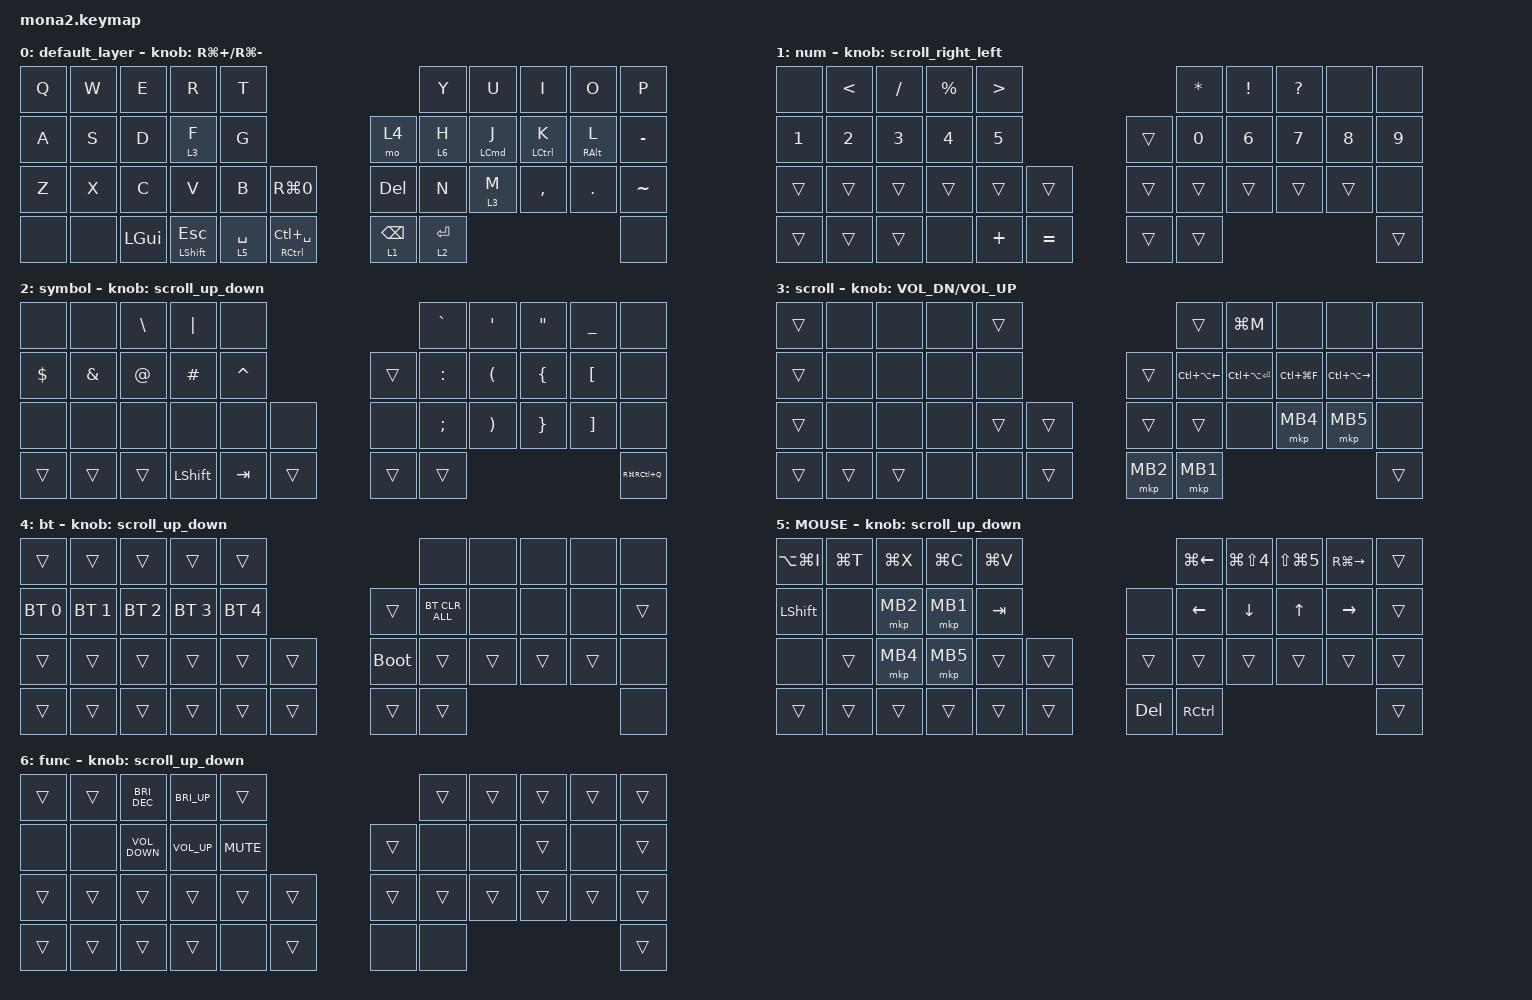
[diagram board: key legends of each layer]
#include <input/processors.dtsi>
#include <dt-bindings/zmk/input_transform.h>
#include <zephyr/dt-bindings/input/input-event-codes.h>
#include <behaviors.dtsi>
#include <dt-bindings/zmk/bt.h>
#include <dt-bindings/zmk/keys.h>
#include <dt-bindings/zmk/pointing.h>

#define ZMK_POINTING_DEFAULT_SCRL_VAL 100
#define MOUSE 5
#define SCROLL 6

&mt {
    flavor = "balanced";
    quick-tap-ms = <0>;
};

&lt {
    quick-tap-ms = <300>;
    flavor = "balanced";
};

/ {
    combos {
        compatible = "zmk,combos";

        layer4_ESC {
            bindings = <&lt 4 ESC>;
            key-positions = <39 38>;
        };

        tab {
            bindings = <&kp TAB>;
            key-positions = <11 12>;
        };
    };

    macros {
        to_layer_0: to_layer_0 {
            compatible = "zmk,behavior-macro-one-param";
            #binding-cells = <1>;
            bindings = <&to 0 &macro_param_1to1 &kp MACRO_PLACEHOLDER>;
            label = "TO_LAYER_0";
        };
    };

    behaviors {
        lt_to_layer_0: lt_to_layer_0 {
            compatible = "zmk,behavior-hold-tap";
            label = "LAYER_TAP_TO_0";
            bindings = <&mo>, <&to_layer_0>;

            #binding-cells = <2>;
            tapping-term-ms = <200>;
        };

        scroll_up_down: mouse_wheel_up_down {
            compatible = "zmk,behavior-sensor-rotate";
            #sensor-binding-cells = <0>;
            bindings = <&msc SCRL_DOWN>, <&msc SCRL_UP>;

            tap-ms = <20>;
        };

        scroll_right_left: mouse_wheel_right_left {
            compatible = "zmk,behavior-sensor-rotate";
            #sensor-binding-cells = <0>;
            bindings = <&msc SCRL_LEFT>, <&msc SCRL_RIGHT>;

            tap-ms = <20>;
        };
    };

    keymap {
        compatible = "zmk,keymap";

        default_layer {
            bindings = <
&kp Q  &kp W  &kp E         &kp R                  &kp T                                                &kp Y        &kp U               &kp I        &kp O            &kp P
&kp A  &kp S  &kp D         &lt 3 F                &kp G                               &mo 4            &lt 6 H      &mt LEFT_COMMAND J  &mt LCTRL K  &mt RIGHT_ALT L  &kp MINUS
&kp Z  &kp X  &kp C         &kp V                  &kp B        &kp RG(NUMBER_0)       &kp DELETE       &kp N        &lt 3 M             &kp COMMA    &kp DOT          &kp TILDE
&none  &none  &kp LEFT_GUI  &mt LEFT_SHIFT ESCAPE  &lt 5 SPACE  &mt RCTRL LC(SPACE)    &lt 1 BACKSPACE  &lt 2 ENTER                                                    &none
            >;

            sensor-bindings = <&inc_dec_kp RG(PLUS) RG(MINUS)>;
        };

        num {
            bindings = <
&none         &kp LESS_THAN  &kp SLASH     &kp PERCENT   &kp GREATER_THAN                       &kp ASTERISK  &kp EXCLAMATION  &kp QUESTION  &none         &none
&kp NUMBER_1  &kp NUMBER_2   &kp NUMBER_3  &kp NUMBER_4  &kp NUMBER_5                   &trans  &kp NUMBER_0  &kp NUMBER_6     &kp NUMBER_7  &kp NUMBER_8  &kp NUMBER_9
&trans        &trans         &trans        &trans        &trans            &trans       &trans  &trans        &trans           &trans        &trans        &none
&trans        &trans         &trans        &none         &kp PLUS          &kp EQUAL    &trans  &trans                                                     &trans
            >;

            sensor-bindings = <&scroll_right_left>;
        };

        symbol {
            bindings = <
&none       &none          &kp BACKSLASH  &kp PIPE   &none                        &kp GRAVE      &kp SQT                &kp DOUBLE_QUOTES  &kp UNDERSCORE     &none
&kp DOLLAR  &kp AMPERSAND  &kp AT_SIGN    &kp HASH   &kp CARET            &trans  &kp COLON      &kp LEFT_PARENTHESIS   &kp LEFT_BRACE     &kp LEFT_BRACKET   &none
&none       &none          &none          &none      &none      &none     &none   &kp SEMICOLON  &kp RIGHT_PARENTHESIS  &kp RIGHT_BRACE    &kp RIGHT_BRACKET  &none
&trans      &trans         &trans         &kp LSHFT  &kp TAB    &trans    &trans  &trans                                                                      &kp RG(RC(Q))
            >;

            sensor-bindings = <&scroll_up_down>;
        };

        scroll {
            bindings = <
&trans  &none   &none   &none  &trans                      &trans                  &kp LG(M)          &none          &none                    &none
&trans  &none   &none   &none  &none             &trans    &kp LC(LA(LEFT_ARROW))  &kp LC(LA(ENTER))  &kp LC(LG(F))  &kp LC(LA(RIGHT_ARROW))  &none
&trans  &none   &none   &none  &trans  &trans    &trans    &trans                  &none              &mkp MB4       &mkp MB5                 &none
&trans  &trans  &trans  &none  &none   &trans    &mkp MB2  &mkp MB1                                                                           &trans
            >;

            sensor-bindings = <&inc_dec_kp C_VOL_DN C_VOL_UP>;
        };

        bt {
            bindings = <
&trans        &trans        &trans        &trans        &trans                               &none           &none   &none   &none   &none
&bt BT_SEL 0  &bt BT_SEL 1  &bt BT_SEL 2  &bt BT_SEL 3  &bt BT_SEL 4            &trans       &bt BT_CLR_ALL  &none   &none   &none   &trans
&trans        &trans        &trans        &trans        &trans        &trans    &bootloader  &trans          &trans  &trans  &trans  &none
&trans        &trans        &trans        &trans        &trans        &trans    &trans       &trans                                  &none
            >;

            sensor-bindings = <&scroll_up_down>;
        };

        MOUSE {
            bindings = <
&kp LA(LG(I))   &kp LG(T)  &kp LG(X)  &kp LG(C)  &kp LG(V)                        &kp LG(LEFT_ARROW)  &kp LG(LS(NUMBER_4))  &kp LS(LG(NUMBER_5))  &kp RG(RIGHT_ARROW)  &trans
&kp LEFT_SHIFT  &none      &mkp MB2   &mkp MB1   &kp TAB              &none       &kp LEFT_ARROW      &kp DOWN_ARROW        &kp UP_ARROW          &kp RIGHT_ARROW      &trans
&none           &trans     &mkp MB4   &mkp MB5   &trans     &trans    &trans      &trans              &trans                &trans                &trans               &trans
&trans          &trans     &trans     &trans     &trans     &trans    &kp DELETE  &kp RCTRL                                                                            &trans
            >;

            sensor-bindings = <&scroll_up_down>;
        };

        func {
            bindings = <
&trans  &trans  &kp C_BRI_DEC      &kp C_BRI_UP     &trans                        &trans  &trans  &trans  &trans  &trans
&none   &none   &kp C_VOLUME_DOWN  &kp C_VOLUME_UP  &kp K_MUTE            &trans  &none   &none   &trans  &none   &trans
&trans  &trans  &trans             &trans           &trans      &trans    &trans  &trans  &trans  &trans  &trans  &trans
&trans  &trans  &trans             &trans           &none       &trans    &none   &none                           &trans
            >;

            sensor-bindings = <&scroll_up_down>;
        };
    };
};
